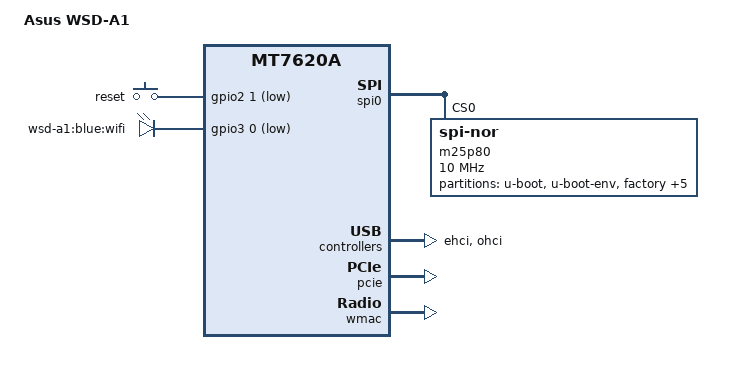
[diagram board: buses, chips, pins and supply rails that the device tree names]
/dts-v1/;

#include "mt7620a.dtsi"

#include <dt-bindings/gpio/gpio.h>
#include <dt-bindings/input/input.h>

/{
	compatible = "asus,wsd-a1","ralink,mt7620a-soc";
	model = "Asus WSD-A1";

	gpio-keys-polled {
		compatible = "gpio-keys-polled";
		#address-cells = <1>;
		#size-cells = <0>;
		poll-interval = <20>;

		reset {
			label = "reset";
			gpios = <&gpio2 1 GPIO_ACTIVE_LOW>;
			linux,code = <KEY_RESTART>;
		};
	};

	gpio-leds {
		compatible = "gpio-leds";

		wifi {
			label = "wsd-a1:blue:wifi";
			gpios = <&gpio3 0 GPIO_ACTIVE_LOW>;
		};
	};
};

&gpio1 {
	status = "okay";
};

&gpio2 {
	status = "okay";
};

&gpio3 {
	status = "okay";
};

&spi0 {
	status = "okay";

	m25p80@0 {
		#address-cells = <1>;
		#size-cells = <1>;
		compatible = "jedec,spi-nor";
		reg = <0>;
		spi-max-frequency = <10000000>;
		m25p,chunked-io = <32>;
		partition@0 {
			label = "u-boot";
			reg = <0x0 0x30000>;
			read-only;
		};

		partition@30000 {
			label = "u-boot-env";
			reg = <0x30000 0x10000>;
			read-only;
		};

		factory: partition@40000 {
			label = "factory";
			reg = <0x40000 0x10000>;
			read-only;
		};

		partition@50000 {
			label = "kernel";
			reg = <0x50000 0x180000>;
		};

		partition@1d0000 {
			label = "params";
			reg = <0x1d0000 0x10000>;
		};

		partition@1e0000 {
			label = "user_backup";
			reg = <0x1e0000 0x10000>;
		};

		partition@1f0000 {
			label = "user";
			reg = <0x1f0000 0x10000>;
		};

		partition@200000 {
			label = "rootfs";
			reg = <0x200000 0xe00000>;
		};
	};
};

&ehci {
	status = "okay";
};

&ohci {
	status = "okay";
};

&pcie {
	status = "okay";

	pcie0 {
		mt76@0,0 {
			reg = <0x0000 0 0 0 0>;
			device_type = "pci";
			mediatek,mtd-eeprom = <&factory 0x8000>;
			mediatek,2ghz = <0>;
		};
	};
};

&ethernet {
	mtd-mac-address = <&factory 0x4>;
};


&wmac {
	ralink,mtd-eeprom = <&factory 0>;
};

&pinctrl {
	state_default: pinctrl0 {
		default {
			ralink,group = "uartf", "ephy", "wled";
			ralink,function = "gpio";
		};
	};
};
